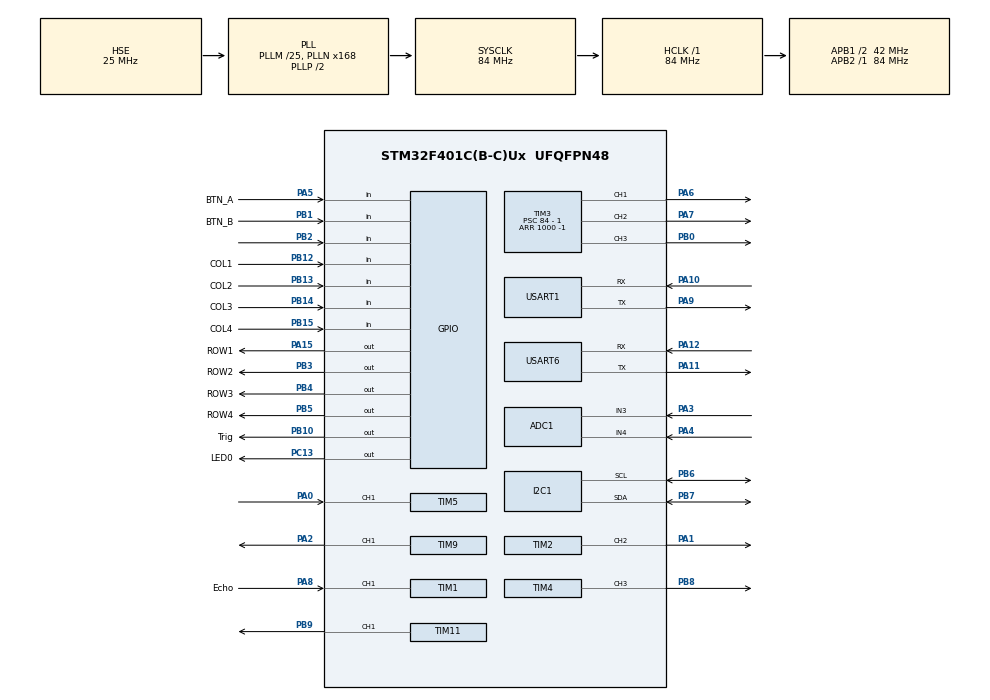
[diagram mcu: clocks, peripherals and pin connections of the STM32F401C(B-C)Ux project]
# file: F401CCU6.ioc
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ADC1.Channel-0\#ChannelRegularConversion=ADC_CHANNEL_4
ADC1.Channel-1\#ChannelInjectedConversion=ADC_CHANNEL_3
ADC1.ClockPrescaler=ADC_CLOCK_SYNC_PCLK_DIV8
ADC1.ContinuousConvMode=ENABLE
ADC1.DMAContinuousRequests=ENABLE
ADC1.InjNumberOfConversion=1
ADC1.InjectedOffset-1\#ChannelInjectedConversion=0
ADC1.InjectedRank-1\#ChannelInjectedConversion=1
ADC1.NbrOfConversionFlag=1
ADC1.Rank-0\#ChannelRegularConversion=1
ADC1.SamplingTime-0\#ChannelRegularConversion=ADC_SAMPLETIME_480CYCLES
ADC1.SamplingTime-1\#ChannelInjectedConversion=ADC_SAMPLETIME_144CYCLES
ADC1.master=1
Dma.ADC1.0.Direction=DMA_PERIPH_TO_MEMORY
Dma.ADC1.0.FIFOMode=DMA_FIFOMODE_DISABLE
Dma.ADC1.0.Instance=DMA2_Stream0
Dma.ADC1.0.MemDataAlignment=DMA_MDATAALIGN_HALFWORD
Dma.ADC1.0.MemInc=DMA_MINC_ENABLE
Dma.ADC1.0.Mode=DMA_CIRCULAR
Dma.ADC1.0.PeriphDataAlignment=DMA_PDATAALIGN_HALFWORD
Dma.ADC1.0.PeriphInc=DMA_PINC_DISABLE
Dma.ADC1.0.Priority=DMA_PRIORITY_HIGH
Dma.I2C1_TX.1.Direction=DMA_MEMORY_TO_PERIPH
Dma.I2C1_TX.1.FIFOMode=DMA_FIFOMODE_DISABLE
Dma.I2C1_TX.1.Instance=DMA1_Stream6
Dma.I2C1_TX.1.MemDataAlignment=DMA_MDATAALIGN_BYTE
Dma.I2C1_TX.1.MemInc=DMA_MINC_ENABLE
Dma.I2C1_TX.1.Mode=DMA_NORMAL
Dma.I2C1_TX.1.PeriphDataAlignment=DMA_PDATAALIGN_BYTE
Dma.I2C1_TX.1.PeriphInc=DMA_PINC_DISABLE
Dma.I2C1_TX.1.Priority=DMA_PRIORITY_MEDIUM
Dma.Request0=ADC1
Dma.Request1=I2C1_TX
I2C1.I2C_Mode=I2C_Fast
Mcu.Family=STM32F4
Mcu.Name=STM32F401C(B-C)Ux
Mcu.Package=UFQFPN48
NVIC.DMA1_Stream6_IRQn=true\:2\:0\:true\:false\:true\:false\:true\:true
NVIC.DMA2_Stream0_IRQn=true\:1\:0\:true\:false\:true\:false\:true\:true
NVIC.I2C1_ER_IRQn=true\:2\:0\:true\:false\:true\:true\:true\:true
NVIC.I2C1_EV_IRQn=true\:2\:0\:true\:false\:true\:true\:true\:true
NVIC.PriorityGroup=NVIC_PRIORITYGROUP_4
NVIC.TIM1_CC_IRQn=true\:0\:0\:true\:false\:true\:true\:true\:true
NVIC.TIM1_UP_TIM10_IRQn=true\:3\:0\:true\:false\:true\:true\:true\:true
NVIC.TIM5_IRQn=true\:0\:0\:false\:false\:true\:true\:true\:true
NVIC.USART1_IRQn=true\:2\:0\:true\:false\:true\:true\:true\:true
NVIC.USART6_IRQn=true\:2\:0\:true\:false\:true\:true\:true\:true
PA0-WKUP.Signal=S_TIM5_CH1
PA1.Signal=S_TIM2_CH2
PA10.Mode=Asynchronous
PA10.Signal=USART1_RX
PA11.Mode=Asynchronous
PA11.Signal=USART6_TX
PA12.Mode=Asynchronous
PA12.Signal=USART6_RX
PA13.Mode=Serial_Wire
PA13.Signal=SYS_JTMS-SWDIO
PA14.Mode=Serial_Wire
PA14.Signal=SYS_JTCK-SWCLK
PA15.GPIO_Label=ROW1
PA15.GPIO_ModeDefaultOutputPP=GPIO_MODE_OUTPUT_OD
PA15.GPIO_PuPd=GPIO_PULLUP
PA15.PinState=GPIO_PIN_SET
PA15.Signal=GPIO_Output
PA2.Signal=S_TIM9_CH1
PA3.Signal=ADCx_IN3
PA4.Signal=ADCx_IN4
PA5.GPIO_Label=BTN_A
PA5.GPIO_PuPd=GPIO_PULLUP
PA5.Signal=GPIO_Input
PA6.Signal=S_TIM3_CH1
PA7.Signal=S_TIM3_CH2
PA8.GPIO_Label=Echo
PA8.GPIO_PuPd=GPIO_PULLUP
PA8.Signal=S_TIM1_CH1
PA9.Mode=Asynchronous
PA9.Signal=USART1_TX
PB0.Signal=S_TIM3_CH3
PB1.GPIO_Label=BTN_B
PB1.GPIO_PuPd=GPIO_PULLUP
PB1.Signal=GPIO_Input
PB10.GPIO_Label=Trig
PB10.GPIO_Speed=GPIO_SPEED_FREQ_HIGH
PB10.Signal=GPIO_Output
PB12.GPIO_Label=COL1
PB12.GPIO_PuPd=GPIO_PULLUP
PB12.Signal=GPIO_Input
PB13.GPIO_Label=COL2
PB13.GPIO_PuPd=GPIO_PULLUP
PB13.Signal=GPIO_Input
PB14.GPIO_Label=COL3
PB14.GPIO_PuPd=GPIO_PULLUP
PB14.Signal=GPIO_Input
PB15.GPIO_Label=COL4
PB15.GPIO_PuPd=GPIO_PULLUP
PB15.Signal=GPIO_Input
PB2.GPIO_PuPd=GPIO_PULLUP
PB2.Signal=GPIO_Input
PB3.GPIO_Label=ROW2
PB3.GPIO_ModeDefaultOutputPP=GPIO_MODE_OUTPUT_OD
PB3.GPIO_PuPd=GPIO_PULLUP
PB3.PinState=GPIO_PIN_SET
PB3.Signal=GPIO_Output
PB4.GPIO_Label=ROW3
PB4.GPIO_ModeDefaultOutputPP=GPIO_MODE_OUTPUT_OD
PB4.GPIO_PuPd=GPIO_PULLUP
PB4.PinState=GPIO_PIN_SET
PB4.Signal=GPIO_Output
PB5.GPIO_Label=ROW4
PB5.GPIO_ModeDefaultOutputPP=GPIO_MODE_OUTPUT_OD
PB5.GPIO_PuPd=GPIO_PULLUP
PB5.PinState=GPIO_PIN_SET
PB5.Signal=GPIO_Output
PB6.Mode=I2C
PB6.Signal=I2C1_SCL
PB7.Mode=I2C
PB7.Signal=I2C1_SDA
PB8.Signal=S_TIM4_CH3
PB9.Signal=S_TIM11_CH1
PC13-ANTI_TAMP.GPIO_Label=LED0
PC13-ANTI_TAMP.PinState=GPIO_PIN_SET
PC13-ANTI_TAMP.Signal=GPIO_Output
PH0\ -\ OSC_IN.Mode=HSE-External-Oscillator
PH0\ -\ OSC_IN.Signal=RCC_OSC_IN
PH1\ -\ OSC_OUT.Mode=HSE-External-Oscillator
PH1\ -\ OSC_OUT.Signal=RCC_OSC_OUT
ProjectManager.HeapSize=0x1000
ProjectManager.StackSize=0x1000
ProjectManager.TargetToolchain=CMake
RCC.48MHZClocksFreq_Value=42000000
RCC.AHBFreq_Value=84000000
RCC.APB1CLKDivider=RCC_HCLK_DIV2
RCC.APB1Freq_Value=42000000
RCC.APB1TimFreq_Value=84000000
RCC.APB2Freq_Value=84000000
RCC.APB2TimFreq_Value=84000000
RCC.CortexFreq_Value=84000000
RCC.HCLKFreq_Value=84000000
RCC.HSE_VALUE=25000000
RCC.HSI_VALUE=16000000
RCC.LSE_VALUE=32768
RCC.PLLM=25
RCC.PLLN=168
RCC.PLLSourceVirtual=RCC_PLLSOURCE_HSE
RCC.SYSCLKFreq_VALUE=84000000
RCC.SYSCLKSource=RCC_SYSCLKSOURCE_PLLCLK
RCC.VCOOutputFreq_Value=168000000
SH.ADCx_IN3.0=ADC1_IN3,IN3
SH.ADCx_IN4.0=ADC1_IN4,IN4
SH.S_TIM11_CH1.0=TIM11_CH1,PWM Generation1 CH1
SH.S_TIM1_CH1.0=TIM1_CH1,Input_Capture1_from_TI1
SH.S_TIM1_CH1.1=TIM1_CH1,TriggerSource_TI1FP1
SH.S_TIM2_CH2.0=TIM2_CH2,PWM Generation2 CH2
SH.S_TIM3_CH1.0=TIM3_CH1,PWM Generation1 CH1
SH.S_TIM3_CH2.0=TIM3_CH2,PWM Generation2 CH2
SH.S_TIM3_CH3.0=TIM3_CH3,PWM Generation3 CH3
SH.S_TIM4_CH3.0=TIM4_CH3,PWM Generation3 CH3
SH.S_TIM5_CH1.0=TIM5_CH1,Input_Capture1_from_TI1
SH.S_TIM5_CH1.1=TIM5_CH1,TriggerSource_TI1FP1
SH.S_TIM9_CH1.0=TIM9_CH1,PWM Generation1 CH1
TIM1.Channel-Input_Capture1_from_TI1=TIM_CHANNEL_1
TIM1.Channel-Input_Capture2_from_TI1_63=TIM_CHANNEL_2
TIM1.ICPolarity_CH2=TIM_INPUTCHANNELPOLARITY_FALLING
TIM1.Prescaler=84-1
TIM10.Period=200-1
TIM10.Prescaler=8400-1
TIM11.AutoReloadPreload=TIM_AUTORELOAD_PRELOAD_ENABLE
TIM11.Channel=TIM_CHANNEL_1
TIM11.Period=999
TIM11.Prescaler=83
TIM11.Pulse=1000
TIM2.Channel-PWM\ Generation2\ CH2=TIM_CHANNEL_2
TIM3.Channel-PWM\ Generation1\ CH1=TIM_CHANNEL_1
TIM3.Channel-PWM\ Generation2\ CH2=TIM_CHANNEL_2
TIM3.Channel-PWM\ Generation3\ CH3=TIM_CHANNEL_3
TIM3.OCPolarity_1=TIM_OCPOLARITY_LOW
TIM3.OCPolarity_2=TIM_OCPOLARITY_LOW
TIM3.OCPolarity_3=TIM_OCPOLARITY_LOW
TIM3.Period=1000 -1
TIM3.Prescaler=84 - 1
TIM4.Channel-PWM\ Generation3\ CH3=TIM_CHANNEL_3
TIM4.Period=1000 - 1
TIM4.Prescaler=84 - 1
TIM4.Pulse-PWM\ Generation3\ CH3=500-1
TIM5.Channel-Input_Capture1_from_TI1=TIM_CHANNEL_1
TIM5.Channel-Input_Capture2_from_TI1_63=TIM_CHANNEL_2
TIM5.ICPolarity_CH2=TIM_INPUTCHANNELPOLARITY_FALLING
TIM9.Channel-PWM\ Generation1\ CH1=TIM_CHANNEL_1
USART1.VirtualMode=VM_ASYNC
USART6.VirtualMode=VM_ASYNC
VP_TIM10_VS_ClockSourceINT.Mode=Enable_Timer
VP_TIM11_VS_ClockSourceINT.Mode=Enable_Timer
VP_TIM1_VS_ClockSourceINT.Mode=Internal
VP_TIM1_VS_ControllerModeReset.Mode=Reset Mode
VP_TIM1_VS_indirect_ch1.Mode=Input_Capture2_from_TI1_63
VP_TIM2_VS_ClockSourceINT.Mode=Internal
VP_TIM3_VS_ClockSourceINT.Mode=Internal
VP_TIM4_VS_ClockSourceINT.Mode=Internal
VP_TIM5_VS_ClockSourceINT.Mode=Internal
VP_TIM5_VS_ControllerModeReset.Mode=Reset Mode
VP_TIM5_VS_indirect_ch1.Mode=Input_Capture2_from_TI1_63
VP_TIM9_VS_ClockSourceINT.Mode=Internal
board=custom

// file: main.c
/* USER CODE BEGIN Header */
/**
  ******************************************************************************
  * @file           : main.c
  * @brief          : Main program body
  ******************************************************************************
  * @attention
  *
  * Copyright (c) 2025 STMicroelectronics.
  * All rights reserved.
  *
  * This software is licensed under terms that can be found in the LICENSE file
  * in the root directory of this software component.
  * If no LICENSE file comes with this software, it is provided AS-IS.
  *
  ******************************************************************************
  */
/* USER CODE END Header */
#include "main.h"
#include "adc.h"
#include "dma.h"
#include "i2c.h"
#include "tim.h"
#include "usart.h"
#include "gpio.h"

/* USER CODE BEGIN Includes */
#include <stdio.h>
#include <string.h>
#include "key_driver.h"
#include "pwm_driver.h"
#include "oled.h"
#include "ic_driver.h"
#include "hcsr04.h"
#include "uart_driver.h"
#include "adc_hal.h"
#include "wave_proc.h"
#include "wave_ui.h"

/* USER CODE END Includes */

/* USER CODE BEGIN PTD */

// 测试模式定义
typedef enum {
    MODE_INFO = 0,      // 0. 系统概览
    MODE_DUAL_GEN,      // 1. 双路信号发生器
    MODE_SCOPE,         // 2. 全能示波器 (整合了高低频)
    MODE_SENSOR,        // 3. 传感器
    MODE_UART_LOOP,     // 4. 串口透传
    MODE_MAX
} SystemMode_t;

/* USER CODE END PTD */

/* USER CODE BEGIN PV */

// --- 系统状态 ---
SystemMode_t CurrentMode = MODE_INFO;
uint8_t ModeNeedRefresh = 1; // 界面刷新标志
uint8_t PWM_Follow_Mode = 0; // 是否开启 PWM 相位跟随

// --- 信号发生器参数 ---
float Sig1_Freq = 1000.0f; // PA2 (TIM9)
float Sig2_Freq = 50.0f;   // PA1 (TIM2)
float Sig2_Duty = 5.0f;    // 舵机测试用

// --- 示波器/ADC相关 ---
Wave_Config_t WaveCfg = {
    .Zoom = 1, .RefVoltage = 3.3f, .ADC_Res = 4096,
    .SampleRate = 420000000 / (3 + 12), // 需根据实际时钟校准
    .ScreenHeight = 64, .ScreenWidth = 128
};
Wave_Stats_t WaveRes;
Wave_Stats_t Stats;
uint8_t WavePlotBuf[128]; // 绘图缓存
Signal_Info_t InputSig;   // 测频结果

// --- 文本缓存 ---
char DispBuf[64];

/* USER CODE END PV */

void SystemClock_Config(void);
/* USER CODE BEGIN PFP */

void User_Init(void);
void User_Loop(void);
float Get_Pot_Voltage(void); // 电位器读取工具函数

#define PRINT_FLOAT(val)  (int)(val), (int)(((val) - (int)(val)) * 100)

/* USER CODE END PFP */

/* USER CODE BEGIN 0 */

// --- 1. 定时器回调 (负责 20ms 按键扫描) ---
void HAL_TIM_PeriodElapsedCallback(TIM_HandleTypeDef *htim)
{
    if (htim->Instance == TIM10) {
        Key_Scan_IT();
    }
}

// --- 2. 输入捕获回调 (负责 超声波 & 频率计) ---
void HAL_TIM_IC_CaptureCallback(TIM_HandleTypeDef *htim)
{
    // 只有在跟随模式开启且是 TIM5 CH1 (PA0) 触发时才强行同步
    if (PWM_Follow_Mode && htim->Instance == TIM5 && htim->Channel == HAL_TIM_ACTIVE_CHANNEL_1)
    {
        // 相位对齐
        __HAL_TIM_SET_COUNTER(SIGNAL2_TIM, 143);
    }

    HCSR04_IC_EventHandler(htim); // 超声波积木
    IC_EventHandler(htim);        // 测频积木 (TIM5)
}

/* USER CODE END 0 */

int main(void)
{

  /* MCU Configuration--------------------------------------------------------*/

  /* Reset of all peripherals, Initializes the Flash interface and the Systick. */
  HAL_Init();

  /* Configure the system clock */
  SystemClock_Config();

  /* Initialize all configured peripherals */
  MX_GPIO_Init();
  MX_DMA_Init();
  MX_USART1_UART_Init();
  MX_ADC1_Init();
  MX_I2C1_Init();
  MX_TIM3_Init();
  MX_TIM4_Init();
  MX_TIM5_Init();
  MX_TIM9_Init();
  MX_USART6_UART_Init();
  MX_TIM10_Init();
  MX_TIM1_Init();
  MX_TIM2_Init();
  MX_TIM11_Init();
  /* USER CODE BEGIN 2 */

  User_Init();

  /* USER CODE END 2 */

  /* Infinite loop */
  /* USER CODE BEGIN WHILE */
  while (1)
  {
      User_Loop();

    /* USER CODE END WHILE */

  }
}

void SystemClock_Config(void)
{
  RCC_OscInitTypeDef RCC_OscInitStruct = {0};
  RCC_ClkInitTypeDef RCC_ClkInitStruct = {0};

  /** Configure the main internal regulator output voltage
  */
  __HAL_RCC_PWR_CLK_ENABLE();
  __HAL_PWR_VOLTAGESCALING_CONFIG(PWR_REGULATOR_VOLTAGE_SCALE2);

  /** Initializes the RCC Oscillators according to the specified parameters
  * in the RCC_OscInitTypeDef structure.
  */
  RCC_OscInitStruct.OscillatorType = RCC_OSCILLATORTYPE_HSE;
  RCC_OscInitStruct.HSEState = RCC_HSE_ON;
  RCC_OscInitStruct.PLL.PLLState = RCC_PLL_ON;
  RCC_OscInitStruct.PLL.PLLSource = RCC_PLLSOURCE_HSE;
  RCC_OscInitStruct.PLL.PLLM = 25;
  RCC_OscInitStruct.PLL.PLLN = 168;
  RCC_OscInitStruct.PLL.PLLP = RCC_PLLP_DIV2;
  RCC_OscInitStruct.PLL.PLLQ = 4;
  if (HAL_RCC_OscConfig(&RCC_OscInitStruct) != HAL_OK)
  {
    Error_Handler();
  }

  /** Initializes the CPU, AHB and APB buses clocks
  */
  RCC_ClkInitStruct.ClockType = RCC_CLOCKTYPE_HCLK|RCC_CLOCKTYPE_SYSCLK
                              |RCC_CLOCKTYPE_PCLK1|RCC_CLOCKTYPE_PCLK2;
  RCC_ClkInitStruct.SYSCLKSource = RCC_SYSCLKSOURCE_PLLCLK;
  RCC_ClkInitStruct.AHBCLKDivider = RCC_SYSCLK_DIV1;
  RCC_ClkInitStruct.APB1CLKDivider = RCC_HCLK_DIV2;
  RCC_ClkInitStruct.APB2CLKDivider = RCC_HCLK_DIV1;

  if (HAL_RCC_ClockConfig(&RCC_ClkInitStruct, FLASH_LATENCY_2) != HAL_OK)
  {
    Error_Handler();
  }
}

/* USER CODE BEGIN 4 */

// 读取 PA3 电位器 (注入组模式)
float Get_Pot_Voltage(void) {
    HAL_ADCEx_InjectedStart(&hadc1);
    HAL_ADCEx_InjectedPollForConversion(&hadc1, 1);
    uint32_t raw = HAL_ADCEx_InjectedGetValue(&hadc1, ADC_INJECTED_RANK_1);
    return (float)raw * 3.3f / 4096.0f;
}

// Mode 0: 系统概览 (测试按键、LED、电位器)
void Task_Info(void) {
    static uint32_t last_update = 0;

    // --- 按压时长统计逻辑 ---
    static uint32_t press_start_tick = 0;
    static uint32_t display_duration = 0; // 要显示的时间(ms)
    static uint8_t  is_pressing = 0;      // 是否有任意键被按住

    // 获取所有按键的原始状态位图 (Bit0-15:矩阵, Bit16:A, Bit17:B)
    uint32_t raw_state = Key_GetRawState();

    if (raw_state != 0) {
        // 有键按下
        if (is_pressing == 0) {
            is_pressing = 1;
            press_start_tick = HAL_GetTick(); // 记录按下时刻
        }
        // 实时更新按住时长
        display_duration = HAL_GetTick() - press_start_tick;
    } else {
        // 没键按下
        if (is_pressing == 1) {
            is_pressing = 0;
            // 松开瞬间，display_duration 保持为最后一次的时长，不再更新
        }
    }

    // --- 界面刷新 (20FPS) ---
    if(HAL_GetTick() - last_update > 50 || ModeNeedRefresh) {
        last_update = HAL_GetTick(); ModeNeedRefresh = 0;

        OLED_NewFrame();

        // 1. 显示时长
        sprintf(DispBuf, "Time: %lu ms", (unsigned long)display_duration);
        OLED_PrintString(0, 0, DispBuf, OLED_COLOR_NORMAL);

        // 2. 绘制矩阵键盘状态 (4x4 Grid)
        // 起始坐标 (10, 16), 间距 12
        for (int r = 0; r < 4; r++) {
            for (int c = 0; c < 4; c++) {
                int key_id = r * 4 + c;
                int x = 10 + c * 16;
                int y = 16 + r * 10;

                // 判断该位是否为1
                if ((raw_state >> key_id) & 0x01) {
                    // 按下：实心圆
                    OLED_SetPixel(x, y, OLED_COLOR_NORMAL);
                } else {
                    // 松开：空心圆 (画点模拟)
                    OLED_SetPixel(x, y-2, OLED_COLOR_NORMAL);
                    OLED_SetPixel(x, y+2, OLED_COLOR_NORMAL);
                    OLED_SetPixel(x-2, y, OLED_COLOR_NORMAL);
                    OLED_SetPixel(x+2, y, OLED_COLOR_NORMAL);
                }
            }
        }

        // 3. 绘制独立按键状态
        OLED_PrintString(80, 16, "Indep:", OLED_COLOR_NORMAL);

        // Btn A (ID 16)
        char btn_str[10];
        if ((raw_state >> KEY_ID_BTN_A) & 0x01) sprintf(btn_str, "A:DOWN");
        else sprintf(btn_str, "A: UP ");
        OLED_PrintString(80, 28, btn_str, OLED_COLOR_NORMAL);

        // Btn B (ID 17)
        if ((raw_state >> KEY_ID_BTN_B) & 0x01){RGB_Set(100,0,0);sprintf(btn_str, "B:DOWN");}
        else {RGB_Set(0,0,0);sprintf(btn_str, "B: UP ");}
        OLED_PrintString(80, 40, btn_str, OLED_COLOR_NORMAL);

        OLED_ShowFrame();
    }
}

// Mode 1: 双路信号发生器 (测试 PWM)
void Task_DualGen(void) {
    static uint32_t last = 0;
    static uint8_t need_update_pwm = 1;

    // --- 1. 按键调节 ---
    // 调节 Sig1 (PA2)
    if(Key_GetEvent_Press(0)) { Sig1_Freq += 1000; need_update_pwm=1; }
    if(Key_GetEvent_Press(1)) { Sig1_Freq -= 1000; if(Sig1_Freq<100) Sig1_Freq=1000; need_update_pwm=1; }

    // 调节 Sig2 (PA1)
    if(Key_GetEvent_Press(4)) { Sig2_Freq += 10; need_update_pwm=1; }
    if(Key_GetEvent_Press(5)) { Sig2_Freq -= 10; if(Sig2_Freq<10) Sig2_Freq=10; need_update_pwm=1; }

    // --- 2. 硬件更新 ---
    if(need_update_pwm) {
        PWM_Set_Freq_Duty(SIGNAL_TIM, SIGNAL_CH, Sig1_Freq, 50.0f);
        PWM_Set_Freq_Duty(SIGNAL2_TIM, SIGNAL2_CH, Sig2_Freq, Sig2_Duty);
        need_update_pwm = 0;

        // 串口打印调试
        printf("PWM Update: CH1=%dHz, CH2=%dHz\r\n", (int)Sig1_Freq, (int)Sig2_Freq);
    }

    // --- 3. 界面显示 ---
    if(HAL_GetTick() - last > 100 || ModeNeedRefresh) {
        last = HAL_GetTick(); ModeNeedRefresh = 0;

        OLED_NewFrame();
        OLED_PrintString(0, 0, "=== DUAL GEN ===", OLED_COLOR_NORMAL);
        sprintf(DispBuf, "PA2: %d Hz", (int)Sig1_Freq);
        OLED_PrintString(0, 20, DispBuf, OLED_COLOR_NORMAL);

        sprintf(DispBuf, "PA1: %d Hz", (int)Sig2_Freq);
        OLED_PrintString(0, 36, DispBuf, OLED_COLOR_NORMAL);
        OLED_PrintString(0, 54, "Keys: 0/1 & 4/5", OLED_COLOR_REVERSE);
        OLED_ShowFrame();
    }
}

// Mode 2: 全能示波器
// ================【选项一】纯软件模式 Task_Scope =================
// 特点：仅需连接 ADC (PA4)，完全依靠算法计算频率
// =================================================================
void Task_Scope(void) {
    static uint32_t last = 0;
    static uint32_t last_log = 0;

    // 记录 ADC 当前挡位 (LOW/MID/HIGH)
    static ADC_Speed_t state = ADC_SPEED_LOW;

    // 刷新率控制 (33ms 刷新一次屏幕，约 30FPS)
    if(HAL_GetTick() - last > 33 || ModeNeedRefresh) {
        last = HAL_GetTick(); ModeNeedRefresh = 0;

        // 1. 同步采样率配置
        WaveCfg.SampleRate = ADC_Get_SampleRate();
        Wave_Proc_Init(&WaveCfg);

        // 2. 软件全能分析
        Wave_Analyze(ADC_HAL_Get_Buffer_Ptr(), ADC_BUFFER_SIZE, 0, &Stats);

        // 3. ADC 自动换挡
        if (Stats.Freq > 0 || 1) {
            switch (state) {
                case ADC_SPEED_LOW: // 当前是低速 (适合 < 1kHz)
                    if (Stats.Freq > 1200) {
                        ADC_Set_Speed(ADC_SPEED_MID);
                        state = ADC_SPEED_MID;
                    }
                    break;
                case ADC_SPEED_MID: // 当前是中速 (适合 1k - 80kHz)
                    if (Stats.Freq > 80000) {
                        ADC_Set_Speed(ADC_SPEED_HIGH);
                        state = ADC_SPEED_HIGH;
                    }
                    else if (Stats.Freq < 800) {
                        ADC_Set_Speed(ADC_SPEED_LOW);
                        state = ADC_SPEED_LOW;
                    }
                    break;
                case ADC_SPEED_HIGH: // 当前是高速 (适合 > 80kHz)
                    if (Stats.Freq < 60000) {
                        ADC_Set_Speed(ADC_SPEED_MID);
                        state = ADC_SPEED_MID;
                    }
                    break;
            }
        }

        // 4. 自动缩放波形 (Zoom)
        uint32_t ref_freq = (Stats.Freq > 0) ? Stats.Freq : (state == ADC_SPEED_LOW ? 10 : (state == ADC_SPEED_MID ? 800 : 40000));
        WaveCfg.Zoom = Wave_AutoZoom(ref_freq, 4);

        // 5. 生成绘图数据
        Wave_GeneratePlot(ADC_HAL_Get_Buffer_Ptr(), ADC_BUFFER_SIZE, &Stats, WavePlotBuf);

        // 6. OLED 显示
        OLED_NewFrame();
        Wave_UI_DrawGrid();
        Wave_UI_DrawCurve(WavePlotBuf, 128, 0, 0);

        // 顶部信息栏 (反色)
        char buf[64];
        if (Stats.Freq > 9999) sprintf(buf, "F:%lukHz Type:%d", (unsigned long)Stats.Freq/1000, Stats.Type);
        else sprintf(buf, "F:%luHz Type:%d", (unsigned long)Stats.Freq, Stats.Type);
        OLED_PrintString(1, 0, buf, OLED_COLOR_REVERSE);

        // 底部信息栏 (峰峰值 + 有效值 + 档位)
        // Vpp: 峰峰值, R: 有效值(RMS), L/M/H: 当前采样档位
        sprintf(buf, "Vpp:%d.%02d R:%d.%02d %c", PRINT_FLOAT(Stats.Vpp), PRINT_FLOAT(Stats.Vrms),
                state == ADC_SPEED_LOW ? 'L' : (state == ADC_SPEED_MID ? 'M' : 'H'));
        OLED_PrintString(0, 54, buf, OLED_COLOR_NORMAL);

        OLED_ShowFrame();
    }

    // 串口日志 (每秒一次)
    if (HAL_GetTick() - last_log >= 1000) {
        last_log = HAL_GetTick();
        printf("[SW Mode] F:%luHz Vpp:%d.%02dV Type:%d\r\n", (unsigned long)Stats.Freq, PRINT_FLOAT(Stats.Vpp), Stats.Type);
    }
}

// ================【选项二】硬件协助模式 Task_Scope ===============
// 特点：必须连接 PA0 (测频) 和 PA4 (ADC)。利用硬件定时器测频，ADC只负责画画。
// =================================================================
/*
void Task_Scope(void) {
    static uint32_t last = 0;
    static uint32_t last_log = 0;
    static ADC_Speed_t state = ADC_SPEED_LOW;

    if(HAL_GetTick() - last > 30 || ModeNeedRefresh) {
        last = HAL_GetTick(); ModeNeedRefresh = 0;

        // 1. 获取硬件测频结果 (来自 ic_driver.c)
        IC_Get_Info(&InputSig);

        // 2. ADC 自动换挡 (使用硬件测得的精准频率)
        if (InputSig.Frequency > 0 || 1) {
            switch (state) {
                case ADC_SPEED_LOW:
                    if (InputSig.Frequency > 1200) { ADC_Set_Speed(ADC_SPEED_MID); state = ADC_SPEED_MID; }
                    break;
                case ADC_SPEED_MID:
                    if (InputSig.Frequency > 80000) { ADC_Set_Speed(ADC_SPEED_HIGH); state = ADC_SPEED_HIGH; }
                    else if (InputSig.Frequency < 800) { ADC_Set_Speed(ADC_SPEED_LOW); state = ADC_SPEED_LOW; }
                    break;
                case ADC_SPEED_HIGH:
                    if (InputSig.Frequency < 60000) { ADC_Set_Speed(ADC_SPEED_MID); state = ADC_SPEED_MID; }
                    break;
            }
        }

        // 3. 配置同步 & 数据分析
        WaveCfg.SampleRate = ADC_Get_SampleRate();
        Wave_Proc_Init(&WaveCfg);

        // 传入测得的 Frequency Duty
        Wave_Analyze(ADC_HAL_Get_Buffer_Ptr(), ADC_BUFFER_SIZE, InputSig.Frequency, &Stats);
        Stats.Duty = InputSig.DutyCycle;

        // 4. 自动缩放
        uint32_t ref_freq = (Stats.Freq > 0) ? Stats.Freq : (state == ADC_SPEED_LOW ? 10 : (state == ADC_SPEED_MID ? 800 : 40000));
        WaveCfg.Zoom = Wave_AutoZoom(ref_freq, 3);

        // 5. 生成绘图 & 刷新 OLED
        Wave_GeneratePlot(ADC_HAL_Get_Buffer_Ptr(), ADC_BUFFER_SIZE, &Stats, WavePlotBuf);

        OLED_NewFrame();
        Wave_UI_DrawGrid();
        Wave_UI_DrawCurve(WavePlotBuf, 128, 0, 0);

        // 顶部显示 (显示 IC 标志，代表 Input Capture)
        char buf[64];
        if (InputSig.Frequency > 9999) sprintf(buf, "IC:%lukHz D:%lu%%", (unsigned long)(InputSig.Frequency/1000), (unsigned long)Stats.Duty);
        else sprintf(buf, "IC:%luHz D:%lu%%", (unsigned long)InputSig.Frequency, (unsigned long)Stats.Duty);
        OLED_PrintString(1, 0, buf, OLED_COLOR_REVERSE);

        // 底部显示 (峰峰值 + 有效值 + 档位)
        sprintf(buf, "Vpp:%d.%02d R:%d.%02d %c", PRINT_FLOAT(Stats.Vpp), PRINT_FLOAT(Stats.Vrms),
                state == ADC_SPEED_LOW ? 'L' : (state == ADC_SPEED_MID ? 'M' : 'H'));
        OLED_PrintString(0, 54, buf, OLED_COLOR_NORMAL);

        OLED_ShowFrame();
    }

    if (HAL_GetTick() - last_log >= 1000) {
        last_log = HAL_GetTick();
        printf("[HW Mode] F:%luHz Vpp:%d.%02dV Type:%d\r\n", (unsigned long)Stats.Freq, PRINT_FLOAT(Stats.Vpp), Stats.Type);
    }
}
*/

// Mode 3: 传感器 (测试 超声波)`
void Task_Sensor(void) {
    static uint32_t last = 0;
    static uint32_t valid_dist = 0; // 保持最后一次有效值

    if(HAL_GetTick() - last > 200 || ModeNeedRefresh) {
         last = HAL_GetTick(); ModeNeedRefresh = 0;

        // 1. 先尝试获取上一次的结果
        // 如果测距完成，Get_Result 会返回非0值并重置状态为 IDLE
        uint32_t new_val = HCSR04_Get_Result();
        if (new_val > 0) {
            valid_dist = new_val; // 更新显示值
        }

        // 2. 启动下一次测量 (非阻塞)
        // 只有当状态为 IDLE 时 Start 才会生效，所以这行代码很安全
        HCSR04_Start();

        // 3. 刷新显示
        OLED_NewFrame();
        OLED_PrintString(0, 0, "=== SENSOR ===", OLED_COLOR_NORMAL);

        char buf[32];
        if(valid_dist > 0) {
            sprintf(buf, "Dist: %lu.%lu cm", (unsigned long)valid_dist/100, (unsigned long)(valid_dist%100)/10);
        } else {
            // 如果刚上电还没数据
            sprintf(buf, "Dist: Measuring...");
        }
        OLED_PrintString(10, 25, buf, OLED_COLOR_NORMAL);

        // 进度条动画
        uint8_t bar_w = (valid_dist > 3000) ? 128 : (valid_dist * 128 / 3000);
        OLED_DrawRectangle(0, 45, 128, 10, OLED_COLOR_NORMAL);
        OLED_DrawFilledRectangle(0, 45, bar_w, 10, OLED_COLOR_NORMAL);

        OLED_ShowFrame();
    }
}

// Mode 4: 串口透传 (测试 UART1/6)
void Task_UART(void) {
    char rx[128];
    static uint8_t update = 1;

    if(UART1_Get_Packet(rx)) {
        UART1_Send("Echo U1: %s\r\n", rx);
        snprintf(DispBuf, sizeof(DispBuf), "U1: %.20s", rx);
        update = 1;
    }

    if(UART6_Get_Packet(rx)) {
        UART6_Send("Echo U6: %s\r\n", rx);
        snprintf(DispBuf, sizeof(DispBuf), "U6: %.20s", rx);
        update = 1;
    }

    if(update || ModeNeedRefresh) {
        ModeNeedRefresh = 0; update = 0;
        OLED_NewFrame();
        OLED_PrintString(0, 0, "=== UART LOOP ===", OLED_COLOR_NORMAL);
        OLED_PrintString(0, 16, "Send data to PC...", OLED_COLOR_NORMAL);
        OLED_PrintString(0, 32, "Last Recv:", OLED_COLOR_NORMAL);
        OLED_PrintString(0, 44, DispBuf, OLED_COLOR_NORMAL);
        OLED_ShowFrame();
    }
}

// =============================================================
//                    系统初始化与主循环
// =============================================================

void User_Init(void)
{
    // 1. 基础启动
    RGB_Init();

    LED0_Set(1); // 开始启动标识

    HAL_TIM_Base_Start_IT(&htim10); // 按键心跳
    Key_Init();
    /* SSD1306 上电稳定等待放在调用点：oled.c 内部不再做阻塞延时，
       从错误中恢复时屏幕早已供电，不需要再等(见 oled.c OLED_Init) */
    HAL_Delay(20);
    OLED_Init();

    LED1_Set(10); RGB_Set(0,0,100); // 核心外设初始化完成标识

    // 2. 信号系统启动
    IC_Init();         // TIM5 A0
    ADC_HAL_Init();    // ADC1 A4
    ADC_HAL_Start();   // DMA Start
    Wave_Proc_Init(&WaveCfg);

    LED1_Set(30); RGB_Set(0,100,0); // 信号系统启动完成标识

    // 3. 发生器启动
    HAL_TIM_PWM_Start(SIGNAL_TIM, SIGNAL_CH);   // A2
    HAL_TIM_PWM_Start(SIGNAL2_TIM, SIGNAL2_CH); // A1
    PWM_Set_Freq_Duty(SIGNAL_TIM, SIGNAL_CH, Sig1_Freq, 50.0f);
    PWM_Set_Freq_Duty(SIGNAL2_TIM, SIGNAL2_CH, Sig2_Freq, Sig2_Duty);

    LED1_Set(50); RGB_Set(100,0,0); // 发生器启动完成标识

    // 4. 其他外设
    HCSR04_Init();
    UART_Init();

    HAL_GPIO_WritePin(GPIOC, GPIO_PIN_13, GPIO_PIN_SET); // 熄灭 LED0
    HAL_GPIO_TogglePin(GPIOC, GPIO_PIN_13); // 反转 LED0
    LED1_Set(0); RGB_Set(0,0,0);

    // 5. 欢迎音效
    printf("System Boot OK.\r\n");
    Buzzer_On(2000, 0.1); HAL_Delay(100); Buzzer_Off();
}

void User_Loop(void)
{
    if(Key_GetEvent_Press(KEY_ID_BTN_A)) {
        // [安全退出逻辑]
        // 只要离开示波器模式，强制将 TIM5 设为最大分频(安全模式)
        // 这样即使切到菜单时输入信号还是 400kHz，中断也不会卡死 UI
        if (CurrentMode == MODE_SCOPE) {
            IC_Set_Safe_Mode();
        }

        CurrentMode++;
        if(CurrentMode >= MODE_MAX) CurrentMode = MODE_INFO;
        ModeNeedRefresh = 1;
        Buzzer_On(4000, 0.5); HAL_Delay(30); Buzzer_Off();
    }

    switch(CurrentMode) {
        case MODE_INFO:     Task_Info(); break;
        case MODE_DUAL_GEN: Task_DualGen(); break;
        case MODE_SCOPE:    Task_Scope(); break;
        case MODE_SENSOR:   Task_Sensor(); break;
        case MODE_UART_LOOP: Task_UART(); break;
        default: CurrentMode = MODE_INFO;
    }
}

/* USER CODE END 4 */

void Error_Handler(void)
{
  __disable_irq();
  while (1)
  {
  }
}
